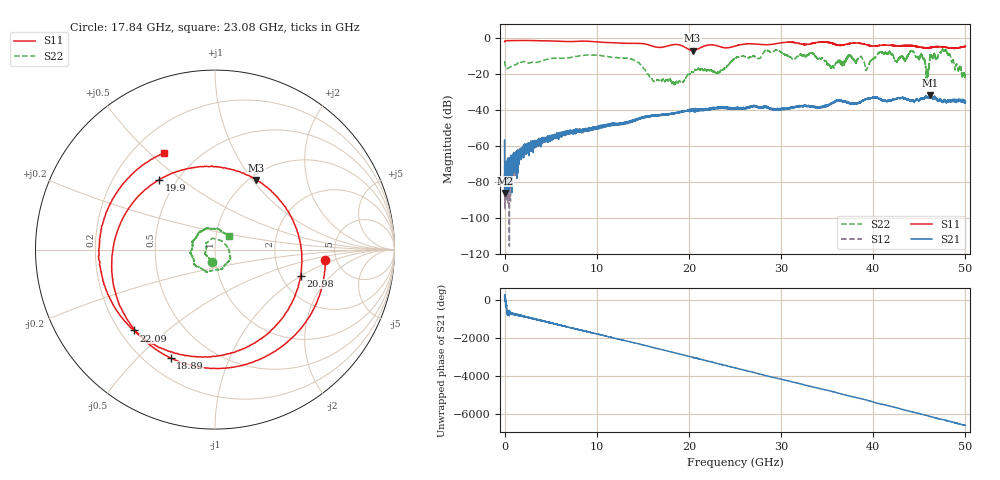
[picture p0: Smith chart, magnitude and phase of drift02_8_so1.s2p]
!Created with skrf (http://scikit-rf.org).
# Hz S RI R 50.0
!freq ReS11 ImS11 ReS21 ImS21 ReS12 ImS12 ReS22 ImS22
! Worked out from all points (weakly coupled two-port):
!   10001 points, 300 kHz to 50 GHz, reference 50 ohm
!   highest |S21| = -31.69 dB at 46.2 GHz (marker M1); lowest = -86.1 dB at 45.3 MHz (marker M2)
!   lowest |S11| = -6.9 dB at 20.4 GHz (marker M3), VSWR 2.64, Z = 53.6 + j52.1 ohm
!   |S11| at or under -10 dB: nowhere
!   |S22| runs from -26.4 to -6.2 dB; largest |S21 - S12| = 0.0032
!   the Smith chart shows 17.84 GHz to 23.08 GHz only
!   S11 on the Smith chart (normalised r, x): 17.84 GHz: 4.08, -0.74; 18.89 GHz: 0.30, -0.63; 19.9 GHz: 0.40, +0.42; 20.98 GHz: 2.56, -0.98; 22.09 GHz: 0.26, -0.39; 23.08 GHz: 0.32, +0.56
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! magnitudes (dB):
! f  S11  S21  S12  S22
! 300 kHz  -2.0  -56.7  -56.9  -12.8
! 45.3 MHz  -1.7  -86.1  -89.1  -14.7
! 255.3 MHz  -1.4  -77.3  -70.5  -17.0
! 2.96 GHz  -1.4  -58.9  -60.8  -13.5
! 8.335 GHz  -1.7  -51.4  -51.6  -9.7
! 13.71 GHz  -3.0  -46.3  -46.2  -11.6
! 16.67 GHz  -5.2  -42.8  -42.8  -23.5
! 17.84 GHz  -4.2  -42.4  -42.1  -23.1
! 18.89 GHz  -3.7  -41.4  -41.5  -24.4
! 19.9 GHz  -6.0  -40.4  -40.2  -20.1
! 20.4 GHz  -6.9  -39.7  -40.6  -19.1
! 20.98 GHz  -6.0  -39.9  -39.8  -17.0
! 22.09 GHz  -3.9  -39.5  -39.6  -17.6
! 23.08 GHz  -4.3  -38.8  -38.9  -19.1
! 25 GHz  -4.5  -39.2  -38.9  -11.4
! 33.34 GHz  -3.0  -37.7  -38.3  -8.4
! 39.31 GHz  -3.8  -34.0  -33.9  -17.2
! 41.67 GHz  -3.9  -34.6  -34.7  -7.7
! 45.86 GHz  -5.4  -32.9  -32.9  -21.0
! 46.2 GHz  -5.2  -31.7  -31.8  -10.4
! 47.75 GHz  -5.0  -34.7  -34.9  -6.8
! 50 GHz  -4.6  -35.6  -35.8  -20.2
